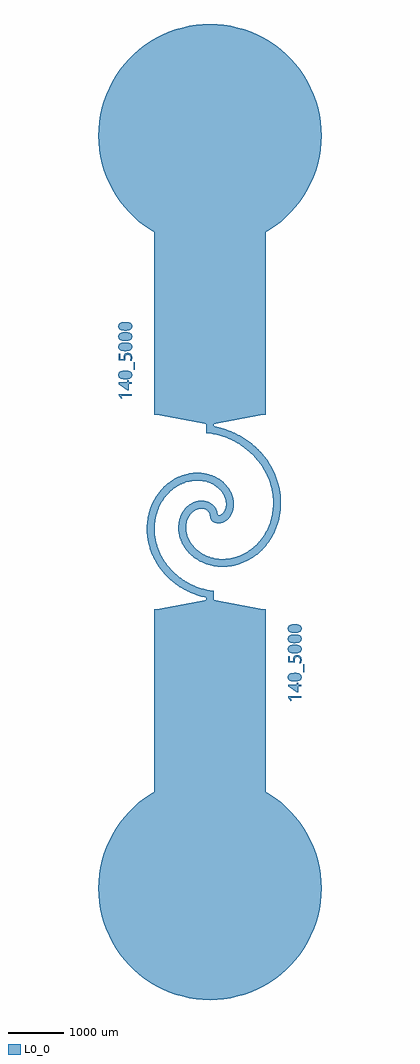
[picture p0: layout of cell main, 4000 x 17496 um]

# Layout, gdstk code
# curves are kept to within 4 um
import gdstk
lib = gdstk.Library(unit=1e-6, precision=1e-09)
def R(c, l, rs):  # rectangles x0, y0, x1, y1
    for r in rs: c.add(gdstk.rectangle(r[:2], r[2:], *l))
def P(c, l, *ps):  # polygons
    for p in ps: c.add(gdstk.Polygon(p, *l))
L0_0 = (0, 0)

main = lib.new_cell('main')
R(main, L0_0, [(649,-6828,2649,-1824), (3316.9,-2950.1,3339.7,-2811.7), (1579,-1828,1719,-1488), (1579,1327.9,1719,1667.9), (649,1663.9,2649,6668), (278.9,2468,301.7,2606.4)])
P(main, L0_0, [(3162.8,-2215.5),(3213.9,-2212.6),(3249.4,-2200.5),(3264,-2179.4),(3259,-2148.6),(3233.1,-2131.2),(3190.7,-2124.2),(3132.5,-2125.2),(3088.1,-2137.9),(3070.9,-2165.1),(3080.8,-2196.2),(3111.4,-2210.7)],
  [(3167.7,-2093.6),(3094.9,-2104.2),(3057.1,-2130.7),(3047.3,-2151.8),(3046,-2181.7),(3053.6,-2205),(3068.9,-2222.5),(3116.1,-2241.6),(3195,-2244.5),(3244.1,-2233.8),(3278.3,-2209),(3290.1,-2165.9),(3284.9,-2140.8),(3274.1,-2124.1),(3236.4,-2101.9)],
  [(3162.8,-2399.1),(3213.9,-2396.2),(3249.4,-2384.1),(3264,-2363),(3259,-2332.2),(3233.1,-2314.8),(3190.7,-2307.8),(3132.5,-2308.8),(3088.1,-2321.5),(3070.9,-2348.7),(3080.8,-2379.8),(3111.4,-2394.3)],
  [(3167.7,-2277.2),(3094.9,-2287.8),(3057.1,-2314.3),(3047.3,-2335.4),(3046,-2365.3),(3055.3,-2391.4),(3071.6,-2408.1),(3116.1,-2425.2),(3195,-2428.1),(3244.1,-2417.4),(3278.3,-2392.6),(3290.1,-2349.5),(3284.9,-2324.4),(3274.1,-2307.7),(3236.4,-2285.5)],
  [(3162.8,-2582.7),(3220.7,-2578.6),(3251.3,-2566.3),(3264.4,-2544.3),(3259,-2515.8),(3233.1,-2498.4),(3190.7,-2491.4),(3121.4,-2493.9),(3086.1,-2506.4),(3070.9,-2532.3),(3080.8,-2563.3),(3111.4,-2577.9)],
  [(3167.7,-2460.8),(3094.9,-2471.4),(3057.1,-2497.9),(3047.3,-2519),(3046,-2548.9),(3055.3,-2575),(3071.6,-2591.7),(3116.1,-2608.8),(3195,-2611.7),(3244.1,-2601),(3278.3,-2576.1),(3290.1,-2533.1),(3284.9,-2508),(3274.1,-2491.3),(3236.4,-2469.1)],
  [(3141,-2728.2),(3144.2,-2757.7),(3076,-2751.3),(3076,-2664.7),(3049,-2664.7),(3049,-2777.1),(3161,-2786),(3170.2,-2771.4),(3166,-2733.8),(3172.1,-2701.9),(3189.9,-2682.9),(3213.9,-2677.8),(3243.8,-2685),(3253.9,-2693.7),(3262.1,-2709.3),(3263.8,-2748.9),(3249.4,-2791.1),(3277.4,-2791.1),(3284.9,-2773.6),(3290.2,-2729),(3283.7,-2693.1),(3267,-2667.2),(3241,-2651.8),(3200.7,-2647.9),(3168.5,-2660.2),(3147.4,-2688.3)],
  [(3167.7,-3087),(3220.7,-3082.8),(3251.3,-3070.5),(3264.7,-3046.2),(3257.7,-3018.3),(3230.3,-3001.7),(3181.8,-2995.2),(3121.4,-2998.1),(3084.2,-3012.1),(3070.6,-3041.4),(3082.4,-3069.1),(3114.6,-3082.8)],
  [(3167.7,-2965),(3098.8,-2974.3),(3057.1,-3002.1),(3047.3,-3023.3),(3046,-3053.1),(3053.6,-3076.4),(3071.6,-3096),(3120.7,-3113.8),(3195,-3115.9),(3247.7,-3103.7),(3278.3,-3080.4),(3290.1,-3037.3),(3284.9,-3012.3),(3274.1,-2995.5),(3232.3,-2972.2)],
  [(3206.6,-3203),(3078.3,-3200.9),(3206.6,-3283.9)],
  [(3233.6,-3139.7),(3206.6,-3139.7),(3206.6,-3174.4),(3047.7,-3174.4),(3047.7,-3205),(3207.7,-3312.9),(3233.6,-3312.9),(3233.6,-3203),(3287,-3203),(3287,-3174.4),(3233.6,-3174.4)],
  [(3287,-3384.5),(3049,-3384.5),(3049,-3408.9),(3097.7,-3471.2),(3117.7,-3455.6),(3079.6,-3411.8),(3287,-3413.1)],
  [(124.9,3202.6),(182.7,3206.7),(213.4,3219),(226.5,3241),(221,3269.5),(195.2,3286.9),(152.7,3293.9),(83.5,3291.4),(48.1,3278.9),(32.9,3253),(42.9,3222),(73.5,3207.4)],
  [(129.7,3324.5),(64.9,3316.5),(21.2,3290),(10.3,3269.6),(7.6,3240.2),(14,3216.1),(28.2,3197.8),(73.6,3177.4),(146.5,3172.9),(206.1,3184.3),(238.3,3206.6),(249.3,3226.9),(252.2,3252.2),(246.9,3277.3),(233.8,3296.5),(198.4,3316.2)],
  [(124.9,3019),(179.4,3022.5),(213.4,3035.4),(226.5,3057.4),(221,3085.9),(197.9,3102.4),(152.7,3110.3),(83.5,3107.8),(48.1,3095.3),(32.9,3069.4),(42.9,3038.4),(70.4,3024.6)],
  [(129.7,3140.9),(60.8,3131.7),(19.2,3103.8),(8.6,3079.3),(8,3052.8),(15.6,3029.6),(30.9,3012.1),(78.1,2992.9),(151.8,2989.6),(206.1,3000.7),(240.3,3025.6),(252.2,3068.6),(246.9,3093.7),(233.8,3112.9),(194.3,3133.8)],
  [(124.9,2835.4),(179.4,2838.9),(213.4,2851.8),(226.5,2873.8),(221,2902.3),(197.9,2918.8),(152.7,2926.7),(90.8,2925.3),(48.1,2911.7),(32.9,2885.8),(42.9,2854.8),(70.4,2841)],
  [(124,2957.3),(60.8,2948.1),(23.3,2925.3),(11.4,2905.6),(7.3,2881),(10.3,2858.5),(21.3,2837.8),(61,2813.5),(118.4,2805.4),(181.3,2809.8),(228.7,2829.9),(244,2847.4),(251.9,2873.5),(249.3,2903.5),(238.3,2924.3),(194.3,2950.2)],
  [(103,2689.9),(106.3,2660.4),(38.1,2666.8),(38.1,2753.4),(11,2753.4),(11,2641.1),(123,2632.1),(132.3,2646.8),(128.2,2689.7),(134.1,2716.2),(152,2735.2),(178.5,2740.3),(209.1,2730.9),(224.1,2708.8),(226.1,2670.8),(211.4,2627.1),(239.4,2627.1),(245.6,2640.4),(252.2,2680),(246.9,2721.8),(231.1,2748.8),(206,2765.3),(162.8,2770.2),(130.6,2757.9),(109.5,2729.8)],
  [(124.9,2331.2),(175.9,2334.1),(211.5,2346.2),(226.1,2367.3),(221,2398.1),(195.2,2415.5),(152.7,2422.5),(94.6,2421.5),(50.1,2408.8),(32.9,2381.6),(42.9,2350.5),(73.5,2336)],
  [(129.7,2453.1),(56.9,2442.5),(19.2,2416),(8.6,2391.4),(8,2365),(15.6,2341.8),(30.9,2324.2),(78.1,2305.1),(151.8,2301.8),(206.1,2312.9),(240.3,2337.7),(252.2,2380.8),(248.2,2402.7),(233.8,2425),(198.4,2444.8)],
  [(168.6,2215.1),(40.3,2217.2),(168.6,2134.2)],
  [(195.6,2278.4),(168.6,2278.4),(168.6,2243.8),(9.7,2243.8),(9.7,2213.2),(169.7,2105.2),(195.6,2105.2),(195.6,2215.1),(249,2215.1),(249,2243.8),(195.6,2243.8)],
  [(249,2033.6),(11,2033.6),(11,2009.2),(59.7,1946.9),(79.7,1962.5),(41.6,2006.3),(249,2005)],
  [(1649,-1628),(1671,-1489.7),(1533.3,-1460.2),(1376.7,-1406.5),(1254.9,-1347.9),(1121.1,-1262.6),(1002.2,-1163.1),(899.7,-1051.7),(814.7,-931),(747.7,-803.6),(706,-694.1),(672.8,-561),(657.7,-428.5),(659.9,-298.7),(678.6,-174),(712.4,-56.4),(769,69.5),(830.4,166),(876.9,223.9),(940.2,288.4),(1065.5,381.7),(1199.4,444.6),(1274.9,466.5),(1350,479.3),(1480.4,480.9),(1548.6,470.7),(1625,449.3),(1694.4,419.1),(1746.1,388.1),(1800.3,345.5),(1845.5,298.4),(1881.3,248.3),(1908,196.9),(1925.7,145.7),(1935.9,88),(1934.2,20.2),(1921.5,-31.6),(1898.2,-78.2),(1869.8,-111.5),(1829,-136.9),(1804.5,-142),(1785.5,-138.5),(1788.8,-146.4),(1778,-75.4),(1739.9,1.9),(1688,56.5),(1623.3,95.7),(1560.9,115.4),(1506.1,121.8),(1450.2,118.9),(1394.5,106.9),(1329.7,80.9),(1268.9,42.7),(1214,-6.8),(1166.7,-66.7),(1128.5,-135.7),(1104.6,-199.1),(1086.5,-281.1),(1081,-353.1),(1094.4,-487.4),(1139.2,-622.2),(1205.7,-736.6),(1296.5,-840.8),(1409.8,-929.9),(1542.9,-999.3),(1692.4,-1044.9),(1833.1,-1062.6),(1958.4,-1059.8),(2043.1,-1048.2),(2149.2,-1022.6),(2254.1,-984.5),(2336.1,-944.9),(2434.9,-884.2),(2528.4,-811.4),(2598.4,-744.8),(2678.5,-651.6),(2735.9,-569.5),(2798.3,-458.3),(2839.8,-363.2),(2880.5,-237.7),(2903.3,-132.8),(2917.1,-24.6),(2921.5,85.9),(2913.2,226.1),(2895.3,339),(2867.3,451.4),(2829.1,562.5),(2780.7,671.3),(2706.1,802.7),(2635.4,903.1),(2555.3,998.2),(2466,1087.1),(2368.2,1169.1),(2262.3,1243.2),(2149,1308.7),(2029,1364.9),(1903.1,1411.1),(1772.1,1446.7),(1671,1466.2),(1649,1327.9),(1801.4,1295.2),(1975.1,1235.7),(2110.5,1170.5),(2259.7,1075.4),(2371.6,983.8),(2489.4,861.1),(2588.2,727.2),(2667.1,584.7),(2717.1,461.6),(2758.1,311.1),(2776.7,185.2),(2780.6,35.9),(2765.4,-109),(2732.1,-247),(2682.4,-376.1),(2617.8,-494.3),(2512,-632.3),(2452.1,-692),(2371.9,-757.3),(2287.1,-812),(2216.7,-847.9),(2126.9,-882.9),(2036.2,-907),(1945.8,-920.3),(1856.9,-923.3),(1770.8,-916.5),(1672.5,-896.1),(1596,-869.8),(1525.2,-835.9),(1460.8,-795.4),(1393,-739.4),(1336.1,-677.1),(1284,-598.7),(1243.8,-505.2),(1225.2,-423.2),(1221.3,-343.9),(1235.7,-249.6),(1268.8,-168),(1310.4,-108.9),(1366.6,-59.6),(1427.7,-29.4),(1488.7,-18.2),(1550.5,-26.3),(1596.2,-49.4),(1628.9,-83.8),(1645.3,-120.6),(1657.4,-193.7),(1693.3,-243.9),(1725.8,-265.2),(1759.1,-277),(1802.8,-282),(1842.9,-278),(1890.9,-262.8),(1931.4,-240.5),(1969.7,-209.7),(2004.3,-170.6),(2033.7,-123.7),(2056.4,-69.8),(2069.4,-20.3),(2076.7,43.8),(2069,146.4),(2036.6,252.1),(1978.4,355.1),(1905,439.3),(1812.3,512.3),(1702,569.7),(1577.1,607.8),(1458.5,622.7),(1370.2,621.7),(1280,610.4),(1189.2,588.5),(1099.1,555.7),(1010.9,511.9),(926.1,457.2),(845.9,391.9),(786,332.2),(717.5,248.8),(668.5,175.4),(625.4,96.6),(588.8,12.8),(559.1,-75.5),(532.6,-191.1),(520.4,-287.1),(516.5,-385.4),(521.3,-485.2),(535,-585.9),(557.8,-686.7),(599.2,-811.3),(654.9,-933.1),(709.7,-1027.2),(773.4,-1117.7),(845.8,-1203.5),(926.4,-1283.9),(1015,-1358),(1111,-1425.2),(1213.8,-1484.7),(1322.9,-1535.8),(1437.4,-1577.8),(1556.8,-1610.3)],
  [(649,-1828),(2649,-1828),(1649,-1641.1),(1719,-1628),(1579,-1628),(1649,-1641.1)],
  [(649,1667.9),(1649,1481),(1579,1467.9),(1719,1467.9),(1649,1481),(2649,1667.9)],
  [(3649,-6828),(3645.1,-6702.4),(3613.6,-6453.2),(3586.2,-6330.6),(3508.6,-6091.7),(3458.7,-5976.4),(3337.6,-5756.3),(3190,-5553.1),(3106.9,-5458.9),(2923.9,-5287),(2720.7,-5139.3),(2500.6,-5018.3),(2385.3,-4968.4),(2146.4,-4890.8),(2023.8,-4863.4),(1774.6,-4831.9),(1649,-4828),(1523.4,-4831.9),(1274.2,-4863.4),(1031,-4925.9),(797.4,-5018.3),(577.4,-5139.3),(473.4,-5210),(279.9,-5370.1),(191,-5458.9),(108,-5553.1),(-39.7,-5756.3),(-160.7,-5976.4),(-210.6,-6091.7),(-288.2,-6330.6),(-315.6,-6453.2),(-347.1,-6702.4),(-351,-6828),(-347.1,-6953.6),(-315.6,-7202.8),(-288.2,-7325.4),(-210.6,-7564.3),(-160.7,-7679.6),(-39.7,-7899.6),(31,-8003.6),(191,-8197.1),(279.9,-8285.9),(473.4,-8446),(685.5,-8580.6),(912.8,-8687.6),(1151.6,-8765.2),(1274.2,-8792.6),(1523.4,-8824.1),(1649,-8828),(1774.6,-8824.1),(2023.8,-8792.6),(2146.4,-8765.2),(2385.3,-8687.6),(2612.5,-8580.6),(2720.7,-8516.6),(2923.9,-8369),(3018.1,-8285.9),(3106.9,-8197.1),(3267,-8003.6),(3401.6,-7791.5),(3508.6,-7564.3),(3586.2,-7325.4),(3613.6,-7202.8),(3645.1,-6953.6)],
  [(3649,-6828),(3645.1,-6702.4),(3613.6,-6453.2),(3586.2,-6330.6),(3508.6,-6091.7),(3458.7,-5976.4),(3337.6,-5756.3),(3190,-5553.1),(3106.9,-5458.9),(2923.9,-5287),(2720.7,-5139.3),(2500.6,-5018.3),(2385.3,-4968.4),(2146.4,-4890.8),(2023.8,-4863.4),(1774.6,-4831.9),(1649,-4828),(1523.4,-4831.9),(1274.2,-4863.4),(1031,-4925.9),(797.4,-5018.3),(577.4,-5139.3),(473.4,-5210),(279.9,-5370.1),(191,-5458.9),(108,-5553.1),(-39.7,-5756.3),(-160.7,-5976.4),(-210.6,-6091.7),(-288.2,-6330.6),(-315.6,-6453.2),(-347.1,-6702.4),(-351,-6828),(-347.1,-6953.6),(-315.6,-7202.8),(-288.2,-7325.4),(-210.6,-7564.3),(-160.7,-7679.6),(-39.7,-7899.6),(31,-8003.6),(191,-8197.1),(279.9,-8285.9),(473.4,-8446),(685.5,-8580.6),(912.8,-8687.6),(1151.6,-8765.2),(1274.2,-8792.6),(1523.4,-8824.1),(1649,-8828),(1774.6,-8824.1),(2023.8,-8792.6),(2146.4,-8765.2),(2385.3,-8687.6),(2612.5,-8580.6),(2720.7,-8516.6),(2923.9,-8369),(3018.1,-8285.9),(3106.9,-8197.1),(3267,-8003.6),(3401.6,-7791.5),(3508.6,-7564.3),(3586.2,-7325.4),(3613.6,-7202.8),(3645.1,-6953.6)],
  [(3649,6668),(3645.1,6793.5),(3613.6,7042.7),(3586.2,7165.3),(3508.6,7404.2),(3401.6,7631.4),(3267,7843.5),(3190,7942.8),(3018.1,8125.9),(2923.9,8208.9),(2720.7,8356.6),(2500.6,8477.6),(2385.3,8527.4),(2267,8570.1),(2023.8,8632.4),(1899.7,8652.1),(1649,8668),(1398.3,8652.1),(1274.2,8632.4),(1031,8570.1),(912.8,8527.4),(797.4,8477.6),(577.4,8356.6),(473.4,8285.9),(279.9,8125.9),(108,7942.8),(-39.7,7739.6),(-160.7,7519.5),(-210.6,7404.2),(-288.2,7165.3),(-315.6,7042.7),(-347.1,6793.5),(-351,6668),(-347.1,6542.3),(-315.6,6293.1),(-288.2,6170.6),(-210.6,5931.7),(-160.7,5816.3),(-39.7,5596.3),(108,5393.1),(191,5298.8),(374.2,5126.9),(473.4,5049.9),(577.4,4979.2),(797.4,4858.3),(1031,4765.8),(1274.2,4703.4),(1398.3,4683.7),(1649,4668),(1899.7,4683.7),(2023.8,4703.4),(2267,4765.8),(2385.3,4808.4),(2500.6,4858.3),(2720.7,4979.2),(2923.9,5126.9),(3106.9,5298.8),(3190,5393.1),(3337.6,5596.3),(3458.7,5816.3),(3508.6,5931.7),(3586.2,6170.6),(3613.6,6293.1),(3645.1,6542.3)],
  [(3649,6668),(3645.1,6793.5),(3613.6,7042.7),(3586.2,7165.3),(3508.6,7404.2),(3401.6,7631.4),(3267,7843.5),(3190,7942.8),(3018.1,8125.9),(2923.9,8208.9),(2720.7,8356.6),(2500.6,8477.6),(2385.3,8527.4),(2267,8570.1),(2023.8,8632.4),(1899.7,8652.1),(1649,8668),(1398.3,8652.1),(1274.2,8632.4),(1031,8570.1),(912.8,8527.4),(797.4,8477.6),(577.4,8356.6),(473.4,8285.9),(279.9,8125.9),(108,7942.8),(-39.7,7739.6),(-160.7,7519.5),(-210.6,7404.2),(-288.2,7165.3),(-315.6,7042.7),(-347.1,6793.5),(-351,6668),(-347.1,6542.3),(-315.6,6293.1),(-288.2,6170.6),(-210.6,5931.7),(-160.7,5816.3),(-39.7,5596.3),(108,5393.1),(191,5298.8),(374.2,5126.9),(473.4,5049.9),(577.4,4979.2),(797.4,4858.3),(1031,4765.8),(1274.2,4703.4),(1398.3,4683.7),(1649,4668),(1899.7,4683.7),(2023.8,4703.4),(2267,4765.8),(2385.3,4808.4),(2500.6,4858.3),(2720.7,4979.2),(2923.9,5126.9),(3106.9,5298.8),(3190,5393.1),(3337.6,5596.3),(3458.7,5816.3),(3508.6,5931.7),(3586.2,6170.6),(3613.6,6293.1),(3645.1,6542.3)])

lib.write_gds('main.gds')
